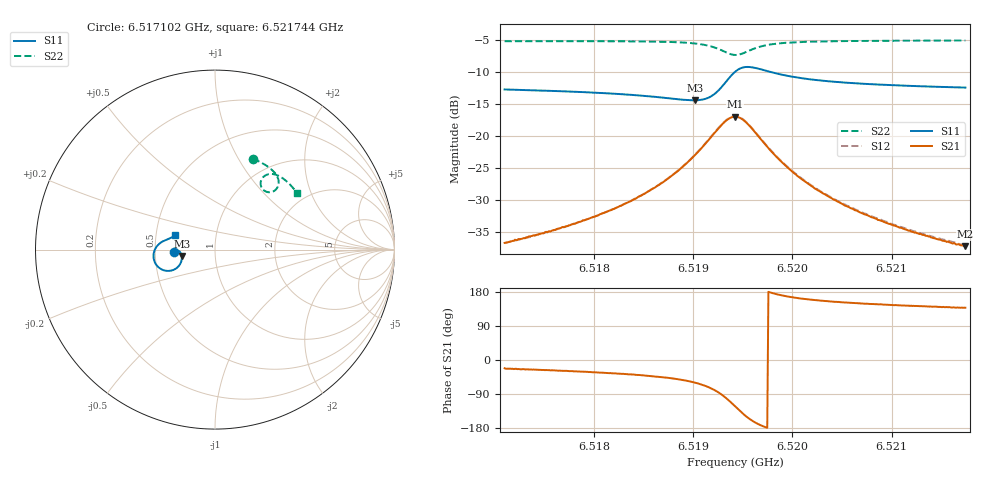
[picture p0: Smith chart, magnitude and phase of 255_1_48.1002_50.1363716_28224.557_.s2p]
#  HZ  S  RI  R  50.00
! Rohde & Schwarz Vector Network Analyzer
! Rohde-Schwarz,ZNB20-2Port,1311601062101988,3.16
! Created: UTC 12/23/2023, 4:00:11 AM
! freq[Hz]  re:S11  im:S11  re:S21  im:S21  re:S12  im:S12  re:S22  im:S22
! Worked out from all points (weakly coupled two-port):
!   401 points, 6.517102 GHz to 6.521744 GHz, reference 50 ohm
!   highest |S21| = -17.03 dB at 6.519423 GHz (marker M1); lowest = -37.3 dB at 6.521744 GHz (marker M2)
!   lowest |S11| = -14.5 dB at 6.519017 GHz (marker M3), VSWR 1.47, Z = 34.3 - j2.55 ohm
!   |S11| at or under -10 dB: start of sweep to 6.519424 GHz; 6.519774 GHz to end of sweep
!   |S22| runs from -7.4 to -5.1 dB; largest |S21 - S12| = 0.0042
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6.5171016e9  -0.2295 -0.015  0.0134 -0.00538  0.0135 -0.0051  0.2104 0.5065
6.5175194e9  -0.2248 -0.00904  0.0158 -0.00789  0.0159 -0.00736  0.241 0.493
6.5178792e9  -0.2193 -0.00513  0.0184 -0.011  0.0188 -0.0104  0.2676 0.479
6.5183319e9  -0.2098 -0.00352  0.0237 -0.018  0.0243 -0.0173  0.3017 0.4569
6.5186568e9  -0.1996 -0.00843  0.0295 -0.0287  0.0304 -0.0278  0.327 0.4347
6.5188309e9  -0.1927 -0.0167  0.0332 -0.0397  0.0346 -0.039  0.3405 0.4179
6.5190166e9  -0.1856 -0.0359  0.0355 -0.0605  0.0375 -0.0597  0.3526 0.3916
6.5191211e9  -0.1856 -0.0559  0.0321 -0.0796  0.0348 -0.0792  0.3546 0.3702
6.5192023e9  -0.1928 -0.0779  0.0224 -0.0996  0.0254 -0.0996  0.3495 0.3495
6.51933e9  -0.2364 -0.1149  -0.0221 -0.1286  -0.0187 -0.1303  0.3155 0.3209
6.5193764e9  -0.2651 -0.1188  -0.0484 -0.1293  -0.045 -0.1316  0.2947 0.32
6.5194228e9  -0.2954 -0.1112  -0.0749 -0.1192  -0.072 -0.1223  0.2745 0.3284
6.5194693e9  -0.3211 -0.0922  -0.0956 -0.0998  -0.0935 -0.1034  0.26 0.345
6.5195273e9  -0.3393 -0.0601  -0.1081 -0.0698  -0.1069 -0.0734  0.2542 0.37
6.5196202e9  -0.3397 -0.0131  -0.1034 -0.0295  -0.1034 -0.0328  0.2664 0.4013
6.5197246e9  -0.3234 0.0189  -0.0858 -0.00474  -0.0863 -0.0072  0.2895 0.4174
6.5199451e9  -0.2911 0.0458  -0.0559 0.012  -0.0567 0.0105  0.3297 0.4195
6.5202005e9  -0.269 0.0559  -0.0373 0.0145  -0.0382 0.0135  0.3603 0.4081
6.520537e9  -0.2525 0.0623  -0.0249 0.0134  -0.0257 0.013  0.3888 0.3889
6.5209781e9  -0.2394 0.0686  -0.0168 0.0116  -0.0173 0.0113  0.4177 0.3627
6.5214191e9  -0.23 0.0748  -0.0122 0.01  -0.0127 0.00995  0.442 0.3358
6.5217441e9  -0.2244 0.079  -0.0101 0.00916  -0.0104 0.00901  0.4577 0.3155
